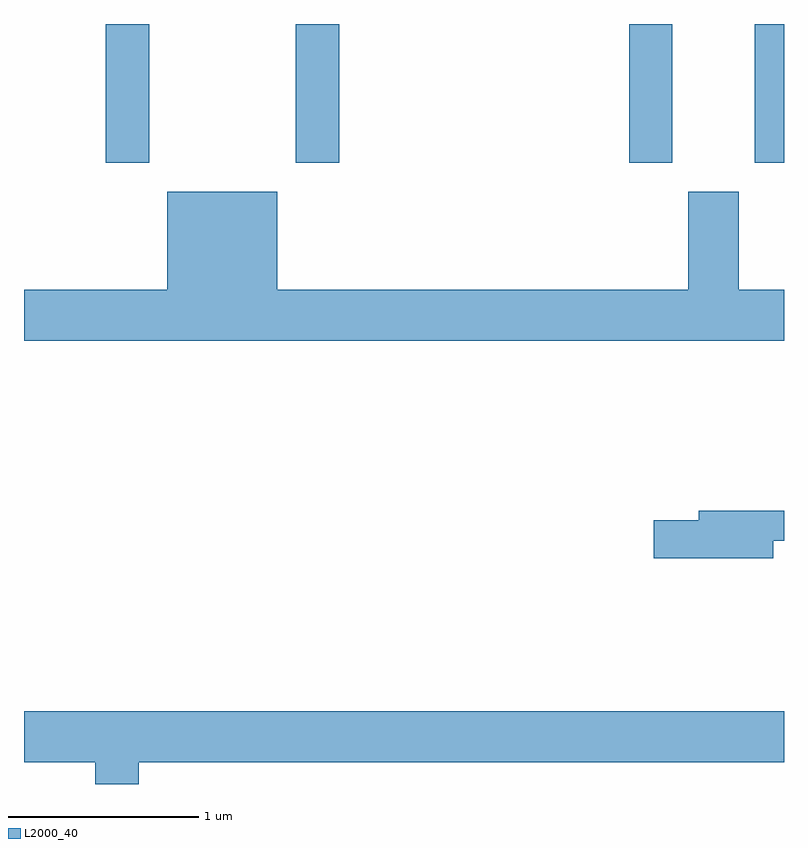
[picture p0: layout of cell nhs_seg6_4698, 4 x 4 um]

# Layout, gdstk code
import gdstk
lib = gdstk.Library(unit=1e-6, precision=1e-09)
def R(c, l, rs):  # rectangles x0, y0, x1, y1
    for r in rs: c.add(gdstk.rectangle(r[:2], r[2:], *l))
def P(c, l, *ps):  # polygons
    for p in ps: c.add(gdstk.Polygon(p, *l))
L2000_40 = (2000, 40)

nhs_seg6_4698 = lib.new_cell('nhs_seg6_4698')
R(nhs_seg6_4698, L2000_40, [(330.041,1535.431,330.269,1536.162), (331.041,1535.431,331.269,1536.162), (332.796,1535.431,333.024,1536.162), (333.456,1535.431,333.611,1536.162)])
P(nhs_seg6_4698, L2000_40, [(333.611,1534.764),(333.374,1534.764),(333.374,1535.279),(333.106,1535.279),(333.106,1534.764),(330.944,1534.764),(330.944,1535.279),(330.366,1535.279),(330.366,1534.764),(329.611,1534.764),(329.611,1534.496),(333.611,1534.496)],
  [(333.554,1533.441),(333.611,1533.441),(333.611,1533.599),(333.161,1533.599),(333.161,1533.549),(332.926,1533.549),(332.926,1533.351),(333.554,1533.351)],
  [(330.214,1532.276),(333.611,1532.276),(333.611,1532.544),(329.611,1532.544),(329.611,1532.276),(329.986,1532.276),(329.986,1532.162),(330.214,1532.162)])

lib.write_gds('nhs_seg6_4698.gds')
